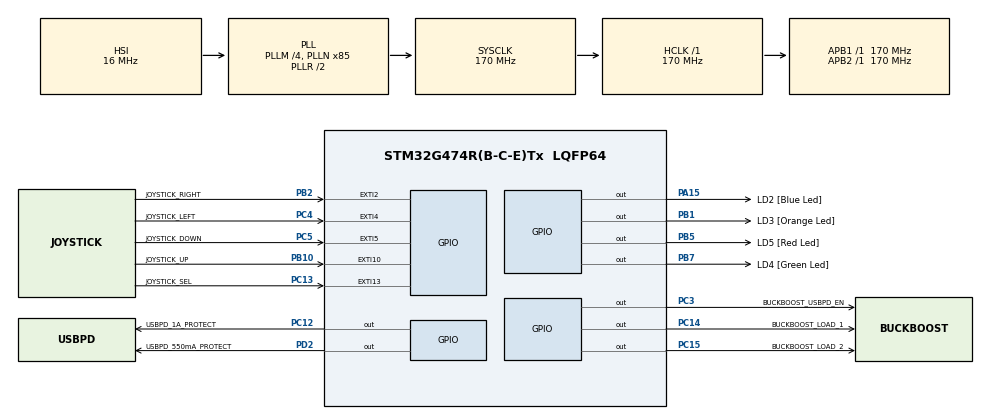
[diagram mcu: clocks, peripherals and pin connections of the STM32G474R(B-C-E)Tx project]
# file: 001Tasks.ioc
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Mcu.Family=STM32G4
Mcu.Name=STM32G474R(B-C-E)Tx
Mcu.Package=LQFP64
NVIC.EXTI15_10_IRQn=true\:0\:0\:false\:false\:true\:true\:true\:true
NVIC.EXTI2_IRQn=true\:0\:0\:false\:false\:true\:true\:true\:true
NVIC.EXTI4_IRQn=true\:0\:0\:false\:false\:true\:true\:true\:true
NVIC.EXTI9_5_IRQn=true\:0\:0\:false\:false\:true\:true\:true\:true
NVIC.PriorityGroup=NVIC_PRIORITYGROUP_4
NVIC.TIM6_DAC_IRQn=true\:15\:0\:false\:false\:true\:false\:true\:true
NVIC.TimeBase=TIM6_DAC_IRQn
NVIC.TimeBaseIP=TIM6
PA0.GPIO_Label=BUCK_GREEN_SENSE
PA0.Signal=COMP3_INP
PA1.GPIO_Label=BUCKBOOST_VIN
PA1.Signal=ADC1_IN2
PA10.Signal=UCPD1_DBCC2
PA11.Signal=USB_DM
PA12.Signal=USB_DP
PA13.Mode=Serial_Wire
PA13.Signal=SYS_JTMS-SWDIO
PA14.Mode=Serial_Wire
PA14.Signal=SYS_JTCK-SWCLK
PA15.GPIO_Label=LD2 [Blue Led]
PA15.Signal=GPIO_Output
PA2.GPIO_Label=BUCKBOOST_I_IN_AVG
PA2.Signal=ADC1_IN3
PA3.GPIO_Label=BUCKBOOST_VOUT
PA3.Signal=ADC1_IN4
PA7.GPIO_Label=BUCK_RED_SENSE
PA7.Signal=COMP2_INP
PA8.GPIO_Label=BUCK_BLUE_DRIVE
PA8.Signal=HRTIM1_CHA1
PA9.Signal=UCPD1_DBCC1
PB0.GPIO_Label=BUCK_BLUE_SENSE
PB0.Signal=COMP4_INP
PB1.GPIO_Label=LD3 [Orange Led]
PB1.Signal=GPIO_Output
PB10.GPIO_Label=JOYSTICK_UP
PB10.GPIO_PuPd=GPIO_PULLUP
PB10.Signal=GPXTI10
PB11.GPIO_Label=BUCKBOOST_I_IN_SENSE
PB11.Signal=COMP6_INP
PB12.GPIO_Label=BUCKBOOST_P1_DRIVE
PB12.Signal=HRTIM1_CHC1
PB13.GPIO_Label=BUCKBOOST_N1_DRIVE
PB13.Signal=HRTIM1_CHC2
PB14.GPIO_Label=BUCKBOOST_N2_DRIVE
PB14.Signal=HRTIM1_CHD1
PB15.GPIO_Label=BUCKBOOST_P2_DRIVE
PB15.Signal=HRTIM1_CHD2
PB2.GPIO_Label=JOYSTICK_RIGHT
PB2.GPIO_PuPd=GPIO_PULLUP
PB2.Signal=GPXTI2
PB3.Signal=SYS_JTDO-SWO
PB4.Signal=UCPD1_CC2
PB5.GPIO_Label=LD5 [Red Led]
PB5.Signal=GPIO_Output
PB6.Signal=UCPD1_CC1
PB7.GPIO_Label=LD4 [Green Led]
PB7.Signal=GPIO_Output
PC10.GPIO_Label=USART3_TX[STLINK_TX]
PC10.GPIO_Speed=GPIO_SPEED_FREQ_MEDIUM
PC10.Signal=USART3_TX
PC11.GPIO_Label=USART3_RX[STLINK_RX]
PC11.GPIO_Speed=GPIO_SPEED_FREQ_MEDIUM
PC11.Signal=USART3_RX
PC12.GPIO_Label=USBPD_1A_PROTECT
PC12.Signal=GPIO_Output
PC13.GPIO_Label=JOYSTICK_SEL
PC13.GPIO_PuPd=GPIO_PULLUP
PC13.Signal=GPXTI13
PC14-OSC32_IN.GPIO_Label=BUCKBOOST_LOAD_1
PC14-OSC32_IN.Signal=GPIO_Output
PC15-OSC32_OUT.GPIO_Label=BUCKBOOST_LOAD_2
PC15-OSC32_OUT.Signal=GPIO_Output
PC2.GPIO_Label=USBPD_VIN
PC2.Signal=ADC1_IN8
PC3.GPIO_Label=BUCKBOOST_USBPD_EN
PC3.Signal=GPIO_Output
PC4.GPIO_Label=JOYSTICK_LEFT
PC4.GPIO_PuPd=GPIO_PULLUP
PC4.Signal=GPXTI4
PC5.GPIO_Label=JOYSTICK_DOWN
PC5.GPIO_PuPd=GPIO_PULLUP
PC5.Signal=GPXTI5
PC6.GPIO_Label=BUCK_RED_DRIVE
PC6.Signal=HRTIM1_CHF1
PC7.GPIO_Label=RC_TP4
PC7.Signal=HRTIM1_CHF2
PC8.GPIO_Label=BUCK_GREEN_DRIVE
PC8.Signal=HRTIM1_CHE1
PD2.GPIO_Label=USBPD_550mA_PROTECT
PD2.Signal=GPIO_Output
ProjectManager.HeapSize=0x200
ProjectManager.StackSize=0x400
ProjectManager.TargetToolchain=STM32CubeIDE
RCC.ADC12Freq_Value=170000000
RCC.ADC345Freq_Value=170000000
RCC.AHBFreq_Value=170000000
RCC.APB1Freq_Value=170000000
RCC.APB1TimFreq_Value=170000000
RCC.APB2Freq_Value=170000000
RCC.APB2TimFreq_Value=170000000
RCC.CK48CLockSelection=RCC_USBCLKSOURCE_HSI48
RCC.CortexFreq_Value=170000000
RCC.EXTERNAL_CLOCK_VALUE=12288000
RCC.HCLKFreq_Value=170000000
RCC.HSE_VALUE=8000000
RCC.HSI48_VALUE=48000000
RCC.HSI_VALUE=16000000
RCC.LSE_VALUE=32768
RCC.PLLM=RCC_PLLM_DIV4
RCC.PLLN=85
RCC.PLLP=RCC_PLLP_DIV8
RCC.PLLQ=RCC_PLLQ_DIV8
RCC.SYSCLKFreq_VALUE=170000000
RCC.SYSCLKSource=RCC_SYSCLKSOURCE_PLLCLK
RCC.USBFreq_Value=48000000
RCC.VCOOutputFreq_Value=340000000
VP_SYS_VS_tim6.Mode=TIM6
board=B-G474E-DPOW1

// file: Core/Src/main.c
/* USER CODE BEGIN Header */
/**
  ******************************************************************************
  * @file           : main.c
  * @brief          : Main program body
  ******************************************************************************
  * @attention
  *
  * Copyright (c) 2023 STMicroelectronics.
  * All rights reserved.
  *
  * This software is licensed under terms that can be found in the LICENSE file
  * in the root directory of this software component.
  * If no LICENSE file comes with this software, it is provided AS-IS.
  *
  ******************************************************************************
  */
/* USER CODE END Header */
#include "main.h"

/* USER CODE BEGIN Includes */
#include <stdio.h>
#include "FreeRTOS.h"
#include "task.h"
/* USER CODE END Includes */

/* USER CODE BEGIN PV */
#define DWT_CTRL	(*(volatile uint32_t*)0xE0001000)		// DWT_CTRL register
/* USER CODE END PV */

void SystemClock_Config(void);
static void MX_GPIO_Init(void);
/* USER CODE BEGIN PFP */
static void task1_handler(void*);
static void task2_handler(void*);
/* USER CODE END PFP */

int main(void)
{
  /* USER CODE BEGIN 1 */
	TaskHandle_t task1_handle;
	TaskHandle_t task2_handle;

	BaseType_t status;

  /* USER CODE END 1 */

  /* MCU Configuration--------------------------------------------------------*/

  /* Reset of all peripherals, Initializes the Flash interface and the Systick. */
  HAL_Init();

  /* Configure the system clock */
  SystemClock_Config();

  /* Initialize all configured peripherals */
  MX_GPIO_Init();
  /* USER CODE BEGIN 2 */

  // Enable the CYCCNT register by setting the 0th bit
  // This is to allow the SEGGER systemview to record time stamps of events
  DWT_CTRL |= (1 << 0);

  // Initialize SEGGER UART recording
  SEGGER_UART_init(500000);

  // Configure and start the SEGGER systemview recording
  SEGGER_SYSVIEW_Conf();
  //SEGGER_SYSVIEW_Start();			// Happens in SEGGER_UART_init()

  // Create FreeRTOS tasks
  status = xTaskCreate(task1_handler, "Task-1", 200, "Hello World from Task-1", 2,&task1_handle);
  configASSERT(status == pdPASS);
  status = xTaskCreate(task2_handler, "Task-2", 200, "Hello World from Task-2", 2,&task2_handle);
  configASSERT(status == pdPASS);

  // Start the FreeRTOS scheduler
  vTaskStartScheduler();

  /* USER CODE END 2 */

  /* Infinite loop */
  while (1)
  {

  }
}

void SystemClock_Config(void)
{
  RCC_OscInitTypeDef RCC_OscInitStruct = {0};
  RCC_ClkInitTypeDef RCC_ClkInitStruct = {0};

  /** Configure the main internal regulator output voltage
  */
  HAL_PWREx_ControlVoltageScaling(PWR_REGULATOR_VOLTAGE_SCALE1_BOOST);

  /** Initializes the RCC Oscillators according to the specified parameters
  * in the RCC_OscInitTypeDef structure.
  */
  RCC_OscInitStruct.OscillatorType = RCC_OSCILLATORTYPE_HSI;
  RCC_OscInitStruct.HSIState = RCC_HSI_ON;
  RCC_OscInitStruct.HSICalibrationValue = RCC_HSICALIBRATION_DEFAULT;
  RCC_OscInitStruct.PLL.PLLState = RCC_PLL_ON;
  RCC_OscInitStruct.PLL.PLLSource = RCC_PLLSOURCE_HSI;
  RCC_OscInitStruct.PLL.PLLM = RCC_PLLM_DIV4;
  RCC_OscInitStruct.PLL.PLLN = 85;
  RCC_OscInitStruct.PLL.PLLP = RCC_PLLP_DIV8;
  RCC_OscInitStruct.PLL.PLLQ = RCC_PLLQ_DIV8;
  RCC_OscInitStruct.PLL.PLLR = RCC_PLLR_DIV2;
  if (HAL_RCC_OscConfig(&RCC_OscInitStruct) != HAL_OK)
  {
    Error_Handler();
  }

  /** Initializes the CPU, AHB and APB buses clocks
  */
  RCC_ClkInitStruct.ClockType = RCC_CLOCKTYPE_HCLK|RCC_CLOCKTYPE_SYSCLK
                              |RCC_CLOCKTYPE_PCLK1|RCC_CLOCKTYPE_PCLK2;
  RCC_ClkInitStruct.SYSCLKSource = RCC_SYSCLKSOURCE_PLLCLK;
  RCC_ClkInitStruct.AHBCLKDivider = RCC_SYSCLK_DIV1;
  RCC_ClkInitStruct.APB1CLKDivider = RCC_HCLK_DIV1;
  RCC_ClkInitStruct.APB2CLKDivider = RCC_HCLK_DIV1;

  if (HAL_RCC_ClockConfig(&RCC_ClkInitStruct, FLASH_LATENCY_4) != HAL_OK)
  {
    Error_Handler();
  }
}

static void MX_GPIO_Init(void)
{
  GPIO_InitTypeDef GPIO_InitStruct = {0};

  /* GPIO Ports Clock Enable */
  __HAL_RCC_GPIOC_CLK_ENABLE();
  __HAL_RCC_GPIOA_CLK_ENABLE();
  __HAL_RCC_GPIOB_CLK_ENABLE();
  __HAL_RCC_GPIOD_CLK_ENABLE();

  /*Configure GPIO pin Output Level */
  HAL_GPIO_WritePin(GPIOC, BUCKBOOST_LOAD_1_Pin|BUCKBOOST_LOAD_2_Pin|BUCKBOOST_USBPD_EN_Pin|USBPD_1A_PROTECT_Pin, GPIO_PIN_RESET);

  /*Configure GPIO pin Output Level */
  HAL_GPIO_WritePin(GPIOB, LD3_Pin|LD5_Pin|LD4_Pin, GPIO_PIN_RESET);

  /*Configure GPIO pin Output Level */
  HAL_GPIO_WritePin(LD2_GPIO_Port, LD2_Pin, GPIO_PIN_RESET);

  /*Configure GPIO pin Output Level */
  HAL_GPIO_WritePin(USBPD_550mA_PROTECT_GPIO_Port, USBPD_550mA_PROTECT_Pin, GPIO_PIN_RESET);

  /*Configure GPIO pins : JOYSTICK_SEL_Pin JOYSTICK_LEFT_Pin JOYSTICK_DOWN_Pin */
  GPIO_InitStruct.Pin = JOYSTICK_SEL_Pin|JOYSTICK_LEFT_Pin|JOYSTICK_DOWN_Pin;
  GPIO_InitStruct.Mode = GPIO_MODE_IT_RISING;
  GPIO_InitStruct.Pull = GPIO_PULLUP;
  HAL_GPIO_Init(GPIOC, &GPIO_InitStruct);

  /*Configure GPIO pins : BUCKBOOST_LOAD_1_Pin BUCKBOOST_LOAD_2_Pin BUCKBOOST_USBPD_EN_Pin USBPD_1A_PROTECT_Pin */
  GPIO_InitStruct.Pin = BUCKBOOST_LOAD_1_Pin|BUCKBOOST_LOAD_2_Pin|BUCKBOOST_USBPD_EN_Pin|USBPD_1A_PROTECT_Pin;
  GPIO_InitStruct.Mode = GPIO_MODE_OUTPUT_PP;
  GPIO_InitStruct.Pull = GPIO_NOPULL;
  GPIO_InitStruct.Speed = GPIO_SPEED_FREQ_LOW;
  HAL_GPIO_Init(GPIOC, &GPIO_InitStruct);

  /*Configure GPIO pin : USBPD_VIN_Pin */
  GPIO_InitStruct.Pin = USBPD_VIN_Pin;
  GPIO_InitStruct.Mode = GPIO_MODE_ANALOG;
  GPIO_InitStruct.Pull = GPIO_NOPULL;
  HAL_GPIO_Init(USBPD_VIN_GPIO_Port, &GPIO_InitStruct);

  /*Configure GPIO pins : BUCK_GREEN_SENSE_Pin BUCKBOOST_VIN_Pin BUCKBOOST_I_IN_AVG_Pin BUCKBOOST_VOUT_Pin
                           BUCK_RED_SENSE_Pin */
  GPIO_InitStruct.Pin = BUCK_GREEN_SENSE_Pin|BUCKBOOST_VIN_Pin|BUCKBOOST_I_IN_AVG_Pin|BUCKBOOST_VOUT_Pin
                          |BUCK_RED_SENSE_Pin;
  GPIO_InitStruct.Mode = GPIO_MODE_ANALOG;
  GPIO_InitStruct.Pull = GPIO_NOPULL;
  HAL_GPIO_Init(GPIOA, &GPIO_InitStruct);

  /*Configure GPIO pins : BUCK_BLUE_SENSE_Pin BUCKBOOST_I_IN_SENSE_Pin PB4 PB6 */
  GPIO_InitStruct.Pin = BUCK_BLUE_SENSE_Pin|BUCKBOOST_I_IN_SENSE_Pin|GPIO_PIN_4|GPIO_PIN_6;
  GPIO_InitStruct.Mode = GPIO_MODE_ANALOG;
  GPIO_InitStruct.Pull = GPIO_NOPULL;
  HAL_GPIO_Init(GPIOB, &GPIO_InitStruct);

  /*Configure GPIO pins : LD3_Pin LD5_Pin LD4_Pin */
  GPIO_InitStruct.Pin = LD3_Pin|LD5_Pin|LD4_Pin;
  GPIO_InitStruct.Mode = GPIO_MODE_OUTPUT_PP;
  GPIO_InitStruct.Pull = GPIO_NOPULL;
  GPIO_InitStruct.Speed = GPIO_SPEED_FREQ_LOW;
  HAL_GPIO_Init(GPIOB, &GPIO_InitStruct);

  /*Configure GPIO pins : JOYSTICK_RIGHT_Pin JOYSTICK_UP_Pin */
  GPIO_InitStruct.Pin = JOYSTICK_RIGHT_Pin|JOYSTICK_UP_Pin;
  GPIO_InitStruct.Mode = GPIO_MODE_IT_RISING;
  GPIO_InitStruct.Pull = GPIO_PULLUP;
  HAL_GPIO_Init(GPIOB, &GPIO_InitStruct);

  /*Configure GPIO pins : BUCKBOOST_P1_DRIVE_Pin BUCKBOOST_N1_DRIVE_Pin BUCKBOOST_N2_DRIVE_Pin BUCKBOOST_P2_DRIVE_Pin */
  GPIO_InitStruct.Pin = BUCKBOOST_P1_DRIVE_Pin|BUCKBOOST_N1_DRIVE_Pin|BUCKBOOST_N2_DRIVE_Pin|BUCKBOOST_P2_DRIVE_Pin;
  GPIO_InitStruct.Mode = GPIO_MODE_AF_PP;
  GPIO_InitStruct.Pull = GPIO_NOPULL;
  GPIO_InitStruct.Speed = GPIO_SPEED_FREQ_VERY_HIGH;
  GPIO_InitStruct.Alternate = GPIO_AF13_HRTIM1;
  HAL_GPIO_Init(GPIOB, &GPIO_InitStruct);

  /*Configure GPIO pins : BUCK_RED_DRIVE_Pin RC_TP4_Pin */
  GPIO_InitStruct.Pin = BUCK_RED_DRIVE_Pin|RC_TP4_Pin;
  GPIO_InitStruct.Mode = GPIO_MODE_AF_PP;
  GPIO_InitStruct.Pull = GPIO_NOPULL;
  GPIO_InitStruct.Speed = GPIO_SPEED_FREQ_VERY_HIGH;
  GPIO_InitStruct.Alternate = GPIO_AF13_HRTIM1;
  HAL_GPIO_Init(GPIOC, &GPIO_InitStruct);

  /*Configure GPIO pin : BUCK_GREEN_DRIVE_Pin */
  GPIO_InitStruct.Pin = BUCK_GREEN_DRIVE_Pin;
  GPIO_InitStruct.Mode = GPIO_MODE_AF_PP;
  GPIO_InitStruct.Pull = GPIO_NOPULL;
  GPIO_InitStruct.Speed = GPIO_SPEED_FREQ_VERY_HIGH;
  GPIO_InitStruct.Alternate = GPIO_AF3_HRTIM1;
  HAL_GPIO_Init(BUCK_GREEN_DRIVE_GPIO_Port, &GPIO_InitStruct);

  /*Configure GPIO pin : BUCK_BLUE_DRIVE_Pin */
  GPIO_InitStruct.Pin = BUCK_BLUE_DRIVE_Pin;
  GPIO_InitStruct.Mode = GPIO_MODE_AF_PP;
  GPIO_InitStruct.Pull = GPIO_NOPULL;
  GPIO_InitStruct.Speed = GPIO_SPEED_FREQ_VERY_HIGH;
  GPIO_InitStruct.Alternate = GPIO_AF13_HRTIM1;
  HAL_GPIO_Init(BUCK_BLUE_DRIVE_GPIO_Port, &GPIO_InitStruct);

  /*Configure GPIO pin : LD2_Pin */
  GPIO_InitStruct.Pin = LD2_Pin;
  GPIO_InitStruct.Mode = GPIO_MODE_OUTPUT_PP;
  GPIO_InitStruct.Pull = GPIO_NOPULL;
  GPIO_InitStruct.Speed = GPIO_SPEED_FREQ_LOW;
  HAL_GPIO_Init(LD2_GPIO_Port, &GPIO_InitStruct);

  /*Configure GPIO pins : USART3_TX_Pin USART3_RX_Pin */
  GPIO_InitStruct.Pin = USART3_TX_Pin|USART3_RX_Pin;
  GPIO_InitStruct.Mode = GPIO_MODE_AF_PP;
  GPIO_InitStruct.Pull = GPIO_NOPULL;
  GPIO_InitStruct.Speed = GPIO_SPEED_FREQ_MEDIUM;
  GPIO_InitStruct.Alternate = GPIO_AF7_USART3;
  HAL_GPIO_Init(GPIOC, &GPIO_InitStruct);

  /*Configure GPIO pin : USBPD_550mA_PROTECT_Pin */
  GPIO_InitStruct.Pin = USBPD_550mA_PROTECT_Pin;
  GPIO_InitStruct.Mode = GPIO_MODE_OUTPUT_PP;
  GPIO_InitStruct.Pull = GPIO_NOPULL;
  GPIO_InitStruct.Speed = GPIO_SPEED_FREQ_LOW;
  HAL_GPIO_Init(USBPD_550mA_PROTECT_GPIO_Port, &GPIO_InitStruct);

  /* EXTI interrupt init*/
  HAL_NVIC_SetPriority(EXTI2_IRQn, 0, 0);
  HAL_NVIC_EnableIRQ(EXTI2_IRQn);

  HAL_NVIC_SetPriority(EXTI4_IRQn, 0, 0);
  HAL_NVIC_EnableIRQ(EXTI4_IRQn);

  HAL_NVIC_SetPriority(EXTI9_5_IRQn, 0, 0);
  HAL_NVIC_EnableIRQ(EXTI9_5_IRQn);

  HAL_NVIC_SetPriority(EXTI15_10_IRQn, 0, 0);
  HAL_NVIC_EnableIRQ(EXTI15_10_IRQn);

}

/* USER CODE BEGIN 4 */

static void task1_handler(void* parameters)
{
	while(1)
	{
		// Print the string that's received through the (parameters) argument
		//printf("%s\n",(char*)parameters);

		// Using the SEGGER printf functionality (must be a formatted string)
		char msg[100];
		snprintf(msg,100,"%s\n",(char*)parameters);
		SEGGER_SYSVIEW_PrintfTarget(msg);

		// Run the task yield function to willingly give up the CPU
		// Only in cooperative scheduling (configUSE_PREEMPTION = 0 in FreeRTOSConfig.h)
		taskYIELD();
	}

}

static void task2_handler(void* parameters)
{
	while(1)
	{
		// Print the string that's received through the (parameters) argument
		//printf("%s\n",(char*)parameters);

		// Using the SEGGER printf functionality (must be a formatted string)
		char msg[100];
		snprintf(msg,100,"%s\n",(char*)parameters);
		SEGGER_SYSVIEW_PrintfTarget(msg);

		// Run the task yield function to willingly give up the CPU
		// Only in cooperative scheduling (configUSE_PREEMPTION = 0 in FreeRTOSConfig.h)
		taskYIELD();
	}

}
/* USER CODE END 4 */

void HAL_TIM_PeriodElapsedCallback(TIM_HandleTypeDef *htim)
{
  if (htim->Instance == TIM6) {
    HAL_IncTick();
  }
}

void Error_Handler(void)
{
  __disable_irq();
  while (1)
  {
  }
}
